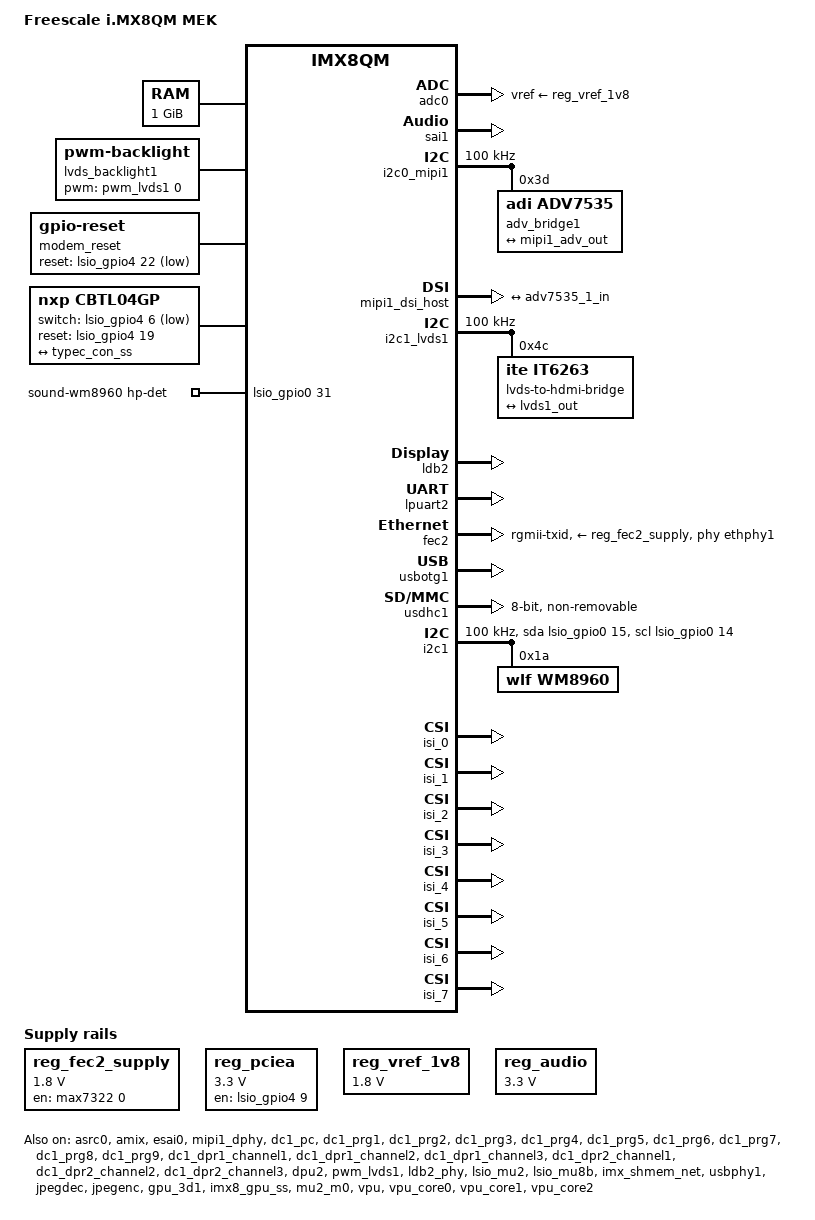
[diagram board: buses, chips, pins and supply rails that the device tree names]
// SPDX-License-Identifier: GPL-2.0+
/*
 * Copyright 2018 NXP
 *	Dong Aisheng <aisheng.dong@nxp.com>
 */

/dts-v1/;

#include <dt-bindings/usb/pd.h>
#include "imx8qm-cockpit-ca72.dtsi"

/ {
	model = "Freescale i.MX8QM MEK";
	compatible = "fsl,imx8qm-mek", "fsl,imx8qm";

	chosen {
		stdout-path = &lpuart2;
	};

	memory@80000000 {
		device_type = "memory";
		reg = <0x00000000 0x80000000 0 0x40000000>;
	};

	brcmfmac: brcmfmac {
		compatible = "cypress,brcmfmac";
		pinctrl-names = "init", "idle", "default";
		pinctrl-0 = <&pinctrl_wifi_init>;
		pinctrl-1 = <&pinctrl_wifi_init>;
		pinctrl-2 = <&pinctrl_wifi>;
	};

	lvds_backlight0: lvds_backlight@0 {
		compatible = "pwm-backlight";
		pwms = <&pwm_lvds0 0 100000 0>;

		brightness-levels = < 0  1  2  3  4  5  6  7  8  9
				     10 11 12 13 14 15 16 17 18 19
				     20 21 22 23 24 25 26 27 28 29
				     30 31 32 33 34 35 36 37 38 39
				     40 41 42 43 44 45 46 47 48 49
				     50 51 52 53 54 55 56 57 58 59
				     60 61 62 63 64 65 66 67 68 69
				     70 71 72 73 74 75 76 77 78 79
				     80 81 82 83 84 85 86 87 88 89
				     90 91 92 93 94 95 96 97 98 99
				    100>;
		default-brightness-level = <80>;
		status = "disabled";
	};

	lvds_backlight1: lvds_backlight@1 {
		compatible = "pwm-backlight";
		pwms = <&pwm_lvds1 0 100000 0>;

		brightness-levels = < 0  1  2  3  4  5  6  7  8  9
				     10 11 12 13 14 15 16 17 18 19
				     20 21 22 23 24 25 26 27 28 29
				     30 31 32 33 34 35 36 37 38 39
				     40 41 42 43 44 45 46 47 48 49
				     50 51 52 53 54 55 56 57 58 59
				     60 61 62 63 64 65 66 67 68 69
				     70 71 72 73 74 75 76 77 78 79
				     80 81 82 83 84 85 86 87 88 89
				     90 91 92 93 94 95 96 97 98 99
				    100>;
		default-brightness-level = <80>;
	};

	modem_reset: modem-reset {
		compatible = "gpio-reset";
		pinctrl-names = "default", "sleep";
		pinctrl-0 = <&pinctrl_modem_reset>;
		pinctrl-1 = <&pinctrl_modem_reset_sleep>;
		reset-gpios = <&lsio_gpio4 22 GPIO_ACTIVE_LOW>;
		reset-delay-us = <2000>;
		reset-post-delay-ms = <40>;
		#reset-cells = <0>;
	};

	cbtl04gp {
		compatible = "nxp,cbtl04gp";
		pinctrl-names = "default";
		pinctrl-0 = <&pinctrl_typec_mux>;
		switch-gpios = <&lsio_gpio4 6 GPIO_ACTIVE_LOW>;
		reset-gpios = <&lsio_gpio4 19 GPIO_ACTIVE_HIGH>;
		orientation-switch;

		port {
			usb3_data_ss: endpoint {
				remote-endpoint = <&typec_con_ss>;
			};
		};
	};

	reserved-memory {
		#address-cells = <2>;
		#size-cells = <2>;
		ranges;

		decoder_boot: decoder_boot@c4000000 {
			no-map;
			reg = <0 0xc4000000 0 0x2000000>;
		};
		encoder1_boot: encoder1_boot@c6000000 {
			no-map;
			reg = <0 0xc6000000 0 0x200000>;
		};
		encoder2_boot: encoder2_boot@c6200000 {
			no-map;
			reg = <0 0xc6200000 0 0x200000>;
		};
		/*
		 * reserved-memory layout
		 * 0x8800_0000 ~ 0x8FFF_FFFF is reserved for M4
		 * Shouldn't be used at A core and Linux side.
		 *
		 */
		m4_reserved: m4@88000000 {
			no-map;
			reg = <0 0x88000000 0 0x8000000>;
		};
		rpmsg_reserved: rpmsg@90000000 {
			no-map;
			reg = <0 0x90000000 0 0x400000>;
		};
		rpmsg_dma_reserved:rpmsg_dma@90400000 {
			compatible = "shared-dma-pool";
			no-map;
			reg = <0 0x90400000 0 0x100000>;
		};
		shmem_dma_reserved:shmem_dma@92000000 {
			compatible = "shared-dma-pool";
			no-map;
			reg = <0 0x92000000 0 0x400000>;
		};
		decoder_rpc: decoder_rpc@d2000000 {
			no-map;
			reg = <0 0xd2000000 0 0x100000>;
		};
		dsp_reserved: dsp@92400000 {
			no-map;
			reg = <0 0x92400000 0 0x2000000>;
		};
		encoder1_rpc: encoder1_rpc@d4400000 {
			no-map;
			reg = <0 0xd4400000 0 0x700000>;
		};
		encoder2_rpc: encoder2_rpc@d4b00000 {
			no-map;
			reg = <0 0xd4b00000 0 0x700000>;
		};

		/* global autoconfigured region for contiguous allocations */
		linux,cma {
			compatible = "shared-dma-pool";
			reusable;
			size = <0 0x1e000000>;
			alloc-ranges = <0 0xe2000000 0 0x1e000000>;
			linux,cma-default;
		};

	};

	epdev_on: fixedregulator@100 {
		compatible = "regulator-fixed";
		pinctrl-names = "default", "sleep";
		pinctrl-0 = <&pinctrl_wlreg_on>;
		pinctrl-1 = <&pinctrl_wlreg_on_sleep>;
		regulator-min-microvolt = <3300000>;
		regulator-max-microvolt = <3300000>;
		regulator-name = "epdev_on";
		gpio = <&lsio_gpio1 13 0>;
		enable-active-high;
		status = "disabled";
	};

	reg_fec2_supply: fec2_nvcc {
		compatible = "regulator-fixed";
		regulator-name = "fec2_nvcc";
		regulator-min-microvolt = <1800000>;
		regulator-max-microvolt = <1800000>;
		gpio = <&max7322 0 GPIO_ACTIVE_HIGH>;
		enable-active-high;
	};

	reg_pciea: regulator-pcie {
		compatible = "regulator-fixed";
		pinctrl-names = "default";
		pinctrl-0 = <&pinctrl_pciea_reg>;
		regulator-name = "mpcie_3v3";
		regulator-min-microvolt = <3300000>;
		regulator-max-microvolt = <3300000>;
		gpio = <&lsio_gpio4 9 GPIO_ACTIVE_HIGH>;
		enable-active-high;
	};

	reg_usdhc2_vmmc: usdhc2-vmmc {
		compatible = "regulator-fixed";
		regulator-name = "SD1_SPWR";
		regulator-min-microvolt = <3000000>;
		regulator-max-microvolt = <3000000>;
		gpio = <&lsio_gpio4 7 GPIO_ACTIVE_HIGH>;
		off-on-delay-us = <4800>;
		enable-active-high;
		status = "disabled";
	};

	reg_can01_en: regulator-can01-gen {
		compatible = "regulator-fixed";
		regulator-name = "can01-en";
		regulator-min-microvolt = <3300000>;
		regulator-max-microvolt = <3300000>;
		gpio = <&pca6416 3 GPIO_ACTIVE_HIGH>;
		enable-active-high;
		status = "disabled";
	};

	reg_can2_en: regulator-can2-gen {
		compatible = "regulator-fixed";
		regulator-name = "can2-en";
		regulator-min-microvolt = <3300000>;
		regulator-max-microvolt = <3300000>;
		gpio = <&pca6416 4 GPIO_ACTIVE_HIGH>;
		enable-active-high;
		status = "disabled";
	};

	reg_can01_stby: regulator-can01-stby {
		compatible = "regulator-fixed";
		regulator-name = "can01-stby";
		regulator-min-microvolt = <3300000>;
		regulator-max-microvolt = <3300000>;
		gpio = <&pca6416 5 GPIO_ACTIVE_HIGH>;
		enable-active-high;
		vin-supply = <&reg_can01_en>;
		status = "disabled";
	};

	reg_can2_stby: regulator-can2-stby {
		compatible = "regulator-fixed";
		regulator-name = "can2-stby";
		regulator-min-microvolt = <3300000>;
		regulator-max-microvolt = <3300000>;
		gpio = <&pca6416 6 GPIO_ACTIVE_HIGH>;
		enable-active-high;
		vin-supply = <&reg_can2_en>;
		status = "disabled";
	};

	reg_vref_1v8: regulator-adc-vref {
		compatible = "regulator-fixed";
		regulator-name = "vref_1v8";
		regulator-min-microvolt = <1800000>;
		regulator-max-microvolt = <1800000>;
	};

	reg_audio: fixedregulator@2 {
		compatible = "regulator-fixed";
		regulator-name = "cs42888_supply";
		regulator-min-microvolt = <3300000>;
		regulator-max-microvolt = <3300000>;
		regulator-always-on;
	};

	sound-cs42888 {
		compatible = "fsl,imx8qm-sabreauto-cs42888",
				 "fsl,imx-audio-cs42888";
		model = "imx-cs42888";
		esai-controller = <&esai0>;
		audio-codec = <&cs42888>;
		asrc-controller = <&asrc0>;
		status = "okay";
	};

	sound-wm8960 {
		compatible = "fsl,imx-audio-wm8960";
		model = "wm8960-audio";
		audio-cpu = <&sai1>;
		audio-codec = <&wm8960>;
		hp-det-gpio = <&lsio_gpio0 31 GPIO_ACTIVE_HIGH>;
		audio-routing =
			"Headphone Jack", "HP_L",
			"Headphone Jack", "HP_R",
			"Ext Spk", "SPK_LP",
			"Ext Spk", "SPK_LN",
			"Ext Spk", "SPK_RP",
			"Ext Spk", "SPK_RN",
			"LINPUT1", "Mic Jack",
			"Mic Jack", "MICB";
	};
};

&adc0 {
	pinctrl-names = "default";
	pinctrl-0 = <&pinctrl_adc0>;
	vref-supply = <&reg_vref_1v8>;
	status = "okay";
};

&cm41_i2c {
	#address-cells = <1>;
	#size-cells = <0>;
	clock-frequency = <100000>;
	pinctrl-names = "default";
	pinctrl-0 = <&pinctrl_cm41_i2c>;
	status = "disabled";

	pca6416: gpio@20 {
		compatible = "ti,tca6416";
		reg = <0x20>;
		gpio-controller;
		#gpio-cells = <2>;
		status = "disabled";
	};

	cs42888: cs42888@48 {
		compatible = "cirrus,cs42888";
		reg = <0x48>;
		clocks = <&mclkout0_lpcg 0>;
		clock-names = "mclk";
		VA-supply = <&reg_audio>;
		VD-supply = <&reg_audio>;
		VLS-supply = <&reg_audio>;
		VLC-supply = <&reg_audio>;
		reset-gpio = <&lsio_gpio4 25 GPIO_ACTIVE_LOW>;
		power-domains = <&pd IMX_SC_R_MCLK_OUT_0>,
				<&pd IMX_SC_R_AUDIO_CLK_0>,
				<&pd IMX_SC_R_AUDIO_CLK_1>,
				<&pd IMX_SC_R_AUDIO_PLL_0>,
				<&pd IMX_SC_R_AUDIO_PLL_1>;
		power-domain-names = "pd_mclk_out_0",
					"pd_audio_clk_0",
					"pd_audio_clk_1",
					"pd_audio_clk_0",
					"pd_audio_clk_1";
		assigned-clocks = <&clk IMX_SC_R_AUDIO_PLL_0 IMX_SC_PM_CLK_PLL>,
				<&clk IMX_SC_R_AUDIO_PLL_0 IMX_SC_PM_CLK_SLV_BUS>,
				<&clk IMX_SC_R_AUDIO_PLL_0 IMX_SC_PM_CLK_MST_BUS>,
				<&mclkout0_lpcg 0>;
		assigned-clock-rates = <786432000>, <49152000>, <12288000>, <12288000>;
		fsl,txs-rxm;
		status = "disabled";
	};
};

&cm41_intmux {
	status = "disabled";
};

&dc0_pc {
	status = "disabled";
};

&dc0_prg1 {
	status = "disabled";
};

&dc0_prg2 {
	status = "disabled";

};

&dc0_prg3 {
	status = "disabled";
};

&dc0_prg4 {
	status = "disabled";
};

&dc0_prg5 {
	status = "disabled";
};

&dc0_prg6 {
	status = "disabled";
};

&dc0_prg7 {
	status = "disabled";
};

&dc0_prg8 {
	status = "disabled";
};

&dc0_prg9 {
	status = "disabled";
};

&dc0_dpr1_channel1 {
	status = "disabled";
};

&dc0_dpr1_channel2 {
	status = "disabled";
};

&dc0_dpr1_channel3 {
	status = "disabled";
};

&dc0_dpr2_channel1 {
	status = "disabled";
};

&dc0_dpr2_channel2 {
	status = "disabled";
};

&dc0_dpr2_channel3 {
	status = "disabled";
};

&dpu1 {
	status = "disabled";
};

&dsp {
	compatible = "fsl,imx8qm-dsp-v1";
	status = "disabled";
};

&asrc0 {
	fsl,asrc-rate  = <48000>;
	status = "okay";
	/delete-property/ dmas;
};

&asrc1 {
	/delete-property/ dmas;
};

&amix {
	status = "okay";
};

&esai0 {
	pinctrl-names = "default";
	pinctrl-0 = <&pinctrl_esai0>;
	assigned-clocks = <&acm IMX_ADMA_ACM_ESAI0_MCLK_SEL>,
			<&clk IMX_SC_R_AUDIO_PLL_0 IMX_SC_PM_CLK_PLL>,
			<&clk IMX_SC_R_AUDIO_PLL_0 IMX_SC_PM_CLK_SLV_BUS>,
			<&clk IMX_SC_R_AUDIO_PLL_0 IMX_SC_PM_CLK_MST_BUS>,
			<&esai0_lpcg 0>;
	assigned-clock-parents = <&aud_pll_div0_lpcg 0>;
	assigned-clock-rates = <0>, <786432000>, <49152000>, <12288000>, <49152000>;
	fsl,txm-rxs;
	status = "okay";
	/delete-property/ dmas;
};

&esai1 {
	/delete-property/ dmas;
};

&sai0 {
	/delete-property/ dmas;
};

&sai1 {
	assigned-clocks = <&clk IMX_SC_R_AUDIO_PLL_0 IMX_SC_PM_CLK_PLL>,
			<&clk IMX_SC_R_AUDIO_PLL_0 IMX_SC_PM_CLK_SLV_BUS>,
			<&clk IMX_SC_R_AUDIO_PLL_0 IMX_SC_PM_CLK_MST_BUS>,
			<&sai1_lpcg 0>; /* FIXME: should be sai1, original code is 0 */
	assigned-clock-rates = <786432000>, <49152000>, <12288000>, <49152000>;
	pinctrl-names = "default";
	pinctrl-0 = <&pinctrl_sai1>;
	status = "okay";
};

&sai2 {
	/delete-property/ dmas;
};

&sai3 {
	/delete-property/ dmas;
};

&sai4 {
	/delete-property/ dmas;
};

&sai5 {
	/delete-property/ dmas;
};

&sai6 {
	assigned-clocks = <&acm IMX_ADMA_ACM_SAI6_MCLK_SEL>,
			<&clk IMX_SC_R_AUDIO_PLL_1 IMX_SC_PM_CLK_PLL>,
			<&clk IMX_SC_R_AUDIO_PLL_1 IMX_SC_PM_CLK_SLV_BUS>,
			<&clk IMX_SC_R_AUDIO_PLL_1 IMX_SC_PM_CLK_MST_BUS>,
			<&sai6_lpcg 0>;
	assigned-clock-parents = <&aud_pll_div1_lpcg 0>;
	assigned-clock-rates = <0>, <786432000>, <98304000>, <12288000>, <98304000>;
	fsl,sai-asynchronous;
	fsl,txm-rxs;
	status = "disabled";
	/delete-property/ dmas;
};

&sai7 {
	assigned-clocks = <&acm IMX_ADMA_ACM_SAI7_MCLK_SEL>,
			<&clk IMX_SC_R_AUDIO_PLL_1 IMX_SC_PM_CLK_PLL>,
			<&clk IMX_SC_R_AUDIO_PLL_1 IMX_SC_PM_CLK_SLV_BUS>,
			<&clk IMX_SC_R_AUDIO_PLL_1 IMX_SC_PM_CLK_MST_BUS>,
			<&sai7_lpcg 0>;
	assigned-clock-parents = <&aud_pll_div1_lpcg 0>;
	assigned-clock-rates = <0>, <786432000>, <98304000>, <12288000>, <98304000>;
	fsl,sai-asynchronous;
	fsl,txm-rxs;
	status = "disabled";
	/delete-property/ dmas;
};

&spdif0 {
	/delete-property/ dmas;
};

&spdif1 {
	/delete-property/ dmas;
};



&pwm_lvds0 {
	pinctrl-names = "default";
	pinctrl-0 = <&pinctrl_pwm_lvds0>;
	status = "disabled";
};

&i2c1_lvds0 {
	#address-cells = <1>;
	#size-cells = <0>;
	pinctrl-names = "default";
	pinctrl-0 = <&pinctrl_lvds0_lpi2c1>;
	clock-frequency = <100000>;
	status = "disabled";

	lvds-to-hdmi-bridge@4c {
		compatible = "ite,it6263";
		reg = <0x4c>;

		port {
			it6263_0_in: endpoint {
				remote-endpoint = <&lvds0_out>;
			};
		};
	};
};

&ldb1_phy {
	status = "disabled";
};

&ldb1 {
	status = "disabled";

	lvds-channel@0 {
		fsl,data-mapping = "jeida";
		fsl,data-width = <24>;
		status = "disabled";

		port@1 {
			reg = <1>;

			lvds0_out: endpoint {
				remote-endpoint = <&it6263_0_in>;
			};
		};
	};
};

&i2c0_mipi0 {
	#address-cells = <1>;
	#size-cells = <0>;
        pinctrl-names = "default";
        pinctrl-0 = <&pinctrl_mipi0_lpi2c0>;
	clock-frequency = <100000>;
	status = "disabled";

	adv_bridge0: adv7535@3d {
		#address-cells = <1>;
		#size-cells = <0>;

		compatible = "adi,adv7535";
		reg = <0x3d>;
		adi,addr-cec = <0x3b>;
		adi,dsi-lanes = <4>;
		adi,dsi-channel = <1>;
		interrupt-parent = <&lsio_gpio1>;
		interrupts = <19 IRQ_TYPE_LEVEL_LOW>;
		status = "disabled";

		port@0 {
			reg = <0>;
			adv7535_0_in: endpoint {
				remote-endpoint = <&mipi0_adv_out>;
			};
		};
	};
};

&mipi0_dphy {
	status = "disabled";
};

&mipi0_dsi_host {
	status = "disabled";

	ports {
		port@1 {
			reg = <1>;
			mipi0_adv_out: endpoint {
				remote-endpoint = <&adv7535_0_in>;
			};
		};
	};
};

&i2c0_mipi1 {
	#address-cells = <1>;
	#size-cells = <0>;
        pinctrl-names = "default";
        pinctrl-0 = <&pinctrl_mipi1_lpi2c0>;
	clock-frequency = <100000>;
	status = "okay";

	adv_bridge1: adv7535@3d {
		#address-cells = <1>;
		#size-cells = <0>;

		compatible = "adi,adv7535";
		reg = <0x3d>;
		adi,addr-cec = <0x3b>;
		adi,dsi-lanes = <4>;
		adi,dsi-channel = <1>;
//		interrupt-parent = <&lsio_gpio1>;
		interrupts = <23 IRQ_TYPE_LEVEL_LOW>;
		status = "okay";

		port@0 {
			reg = <0>;
			adv7535_1_in: endpoint {
				remote-endpoint = <&mipi1_adv_out>;
			};
		};
	};
};

&mipi1_dphy {
	status = "okay";
};

&mipi1_dsi_host {
	status = "okay";

	ports {
		port@1 {
			reg = <1>;
			mipi1_adv_out: endpoint {
				remote-endpoint = <&adv7535_1_in>;
			};
		};
	};
};

&dc1_pc {
	status = "okay";
};

&dc1_prg1 {
	status = "okay";
};

&dc1_prg2 {
	status = "okay";

};

&dc1_prg3 {
	status = "okay";
};

&dc1_prg4 {
	status = "okay";
};

&dc1_prg5 {
	status = "okay";
};

&dc1_prg6 {
	status = "okay";
};

&dc1_prg7 {
	status = "okay";
};

&dc1_prg8 {
	status = "okay";
};

&dc1_prg9 {
	status = "okay";
};

&dc1_dpr1_channel1 {
	status = "okay";
};

&dc1_dpr1_channel2 {
	status = "okay";
};

&dc1_dpr1_channel3 {
	status = "okay";
};

&dc1_dpr2_channel1 {
	status = "okay";
};

&dc1_dpr2_channel2 {
	status = "okay";
};

&dc1_dpr2_channel3 {
	status = "okay";
};

&dpu2 {
	status = "okay";
};

&pwm_lvds1 {
	pinctrl-names = "default";
	pinctrl-0 = <&pinctrl_pwm_lvds1>;
	status = "okay";
};

&i2c1_lvds1 {
	#address-cells = <1>;
	#size-cells = <0>;
	pinctrl-names = "default";
	pinctrl-0 = <&pinctrl_lvds1_lpi2c1>;
	clock-frequency = <100000>;
	status = "okay";

	lvds-to-hdmi-bridge@4c {
		compatible = "ite,it6263";
		reg = <0x4c>;

		port {
			it6263_1_in: endpoint {
				remote-endpoint = <&lvds1_out>;
			};
		};
	};
};

&ldb2_phy {
	status = "okay";
};

&ldb2 {
	status = "okay";

	lvds-channel@0 {
		fsl,data-mapping = "jeida";
		fsl,data-width = <24>;
		status = "okay";

		port@1 {
			reg = <1>;

			lvds1_out: endpoint {
				remote-endpoint = <&it6263_1_in>;
			};
		};
	};
};

&lpspi2 {
	#address-cells = <1>;
	#size-cells = <0>;
	fsl,spi-num-chipselects = <1>;
	pinctrl-names = "default";
	pinctrl-0 = <&pinctrl_lpspi2 &pinctrl_lpspi2_cs>;
	cs-gpios = <&lsio_gpio3 10 GPIO_ACTIVE_LOW>;
	status = "disabled";

	spidev0: spi@0 {
		reg = <0>;
		compatible = "rohm,dh2228fv";
		spi-max-frequency = <30000000>;
	};
};

&emvsim0 {
	pinctrl-names = "default";
	pinctrl-0 = <&pinctrl_sim0>;
	status = "disabled";
};

&lpuart0 {
	pinctrl-names = "default";
	pinctrl-0 = <&pinctrl_lpuart0>;
	status = "disabled";
};

&lpuart1 { /* BT */
	pinctrl-names = "default";
	pinctrl-0 = <&pinctrl_lpuart1>;
	resets = <&modem_reset>;
	status = "disabled";
};

&lpuart2 { /* Dbg console */
	pinctrl-names = "default";
	pinctrl-0 = <&pinctrl_lpuart2>;
	/delete-property/ dmas;
	status = "okay";
};

&lpuart3 { /* MKbus */
	pinctrl-names = "default";
	pinctrl-0 = <&pinctrl_lpuart3>;
	status = "disabled";
};

&flexcan1 {
	pinctrl-names = "default";
	pinctrl-0 = <&pinctrl_flexcan1>;
	xceiver-supply = <&reg_can01_stby>;
	status = "disabled";
};

&flexcan2 {
	pinctrl-names = "default";
	pinctrl-0 = <&pinctrl_flexcan2>;
	xceiver-supply = <&reg_can01_stby>;
	status = "disabled";
};

&flexcan3 {
	pinctrl-names = "default";
	pinctrl-0 = <&pinctrl_flexcan3>;
	xceiver-supply = <&reg_can2_stby>;
	status = "disabled";
};

&fec1 {
	pinctrl-names = "default";
	pinctrl-0 = <&pinctrl_fec1>;
	phy-mode = "rgmii-txid";
	phy-handle = <&ethphy0>;
	fsl,magic-packet;
	nvmem-cells = <&fec_mac0>;
	nvmem-cell-names = "mac-address";
	fsl,rgmii_rxc_dly;
	/delete-property/ iommus;
	status = "disabled";

	mdio {
		#address-cells = <1>;
		#size-cells = <0>;

		ethphy0: ethernet-phy@0 {
			compatible = "ethernet-phy-ieee802.3-c22";
			reg = <0>;
			qca,disable-smarteee;
			vddio-supply = <&vddio0>;

			vddio0: vddio-regulator {
				regulator-min-microvolt = <1800000>;
				regulator-max-microvolt = <1800000>;
			};
		};

		ethphy1: ethernet-phy@1 {
			compatible = "ethernet-phy-ieee802.3-c22";
			reg = <1>;
			qca,disable-smarteee;
			vddio-supply = <&vddio1>;

			vddio1: vddio-regulator {
				regulator-min-microvolt = <1800000>;
				regulator-max-microvolt = <1800000>;
			};
		};
	};
};

&fec2 {
	pinctrl-names = "default";
	pinctrl-0 = <&pinctrl_fec2>;
	phy-mode = "rgmii-txid";
	phy-handle = <&ethphy1>;
	phy-supply = <&reg_fec2_supply>;
	fsl,magic-packet;
	nvmem-cells = <&fec_mac1>;
	nvmem-cell-names = "mac-address";
	rx-internal-delay-ps = <2000>;
	/delete-property/ iommus;
	status = "okay";
};

&flexspi0 {
	pinctrl-names = "default";
	pinctrl-0 = <&pinctrl_flexspi0>;
	status = "disabled";

	flash0: mt35xu512aba@0 {
		reg = <0>;
		#address-cells = <1>;
		#size-cells = <1>;
		compatible = "jedec,spi-nor";
		spi-max-frequency = <133000000>;
		spi-tx-bus-width = <4>;
		spi-rx-bus-width = <4>;
	};
};

&pciea{
	pinctrl-names = "default";
	pinctrl-0 = <&pinctrl_pciea>;
	reset-gpio = <&lsio_gpio4 29 GPIO_ACTIVE_LOW>;
	ext_osc = <1>;
	epdev_on-supply = <&epdev_on>;
	vpcie-supply = <&reg_pciea>;
	reserved-region = <&rpmsg_reserved>;
	status = "disabled";
};

&lsio_mu1 {
	status = "disabled";
};

&lsio_mu2 {
	status = "okay";
};

&lsio_mu5 {
	status = "disabled";
};

&lsio_mu6 {
	status = "disabled";
};

&lsio_mu8b {
	status = "okay";
};

&rpmsg0{
	/*
	 * 64K for one rpmsg instance:
	 */
	vdev-nums = <2>;
	reg = <0x0 0x90000000 0x0 0x20000>;
	memory-region = <&rpmsg_dma_reserved>;
	status = "disabled";
};

&rpmsg1{
	/*
	 * 64K for one rpmsg instance:
	 */
	vdev-nums = <2>;
	reg = <0x0 0x90100000 0x0 0x20000>;
	memory-region = <&rpmsg_dma_reserved>;
	status = "disabled";
};

&imx_shmem_net {
	memory-region = <&shmem_dma_reserved>;
	rxfirst;
	status = "okay";
};

&sata {
	pinctrl-names = "default";
	pinctrl-0 = <&pinctrl_pcieb>;
	clkreq-gpio = <&lsio_gpio4 30 GPIO_ACTIVE_LOW>;
	ext_osc = <1>;
	/delete-property/ iommus;
	status = "disabled";
};

&usbphy1 {
	status = "okay";
};

&usbotg1 {
	pinctrl-names = "default";
	pinctrl-0 = <&pinctrl_usbotg1>;
	srp-disable;
	hnp-disable;
	adp-disable;
	power-active-high;
	disable-over-current;
	status = "okay";
};

&usb3_phy {
	status = "disabled";
};

&usbotg3 {
	status = "disabled";
};

&usdhc1 {
	assigned-clocks = <&clk IMX_SC_R_SDHC_0 IMX_SC_PM_CLK_PER>;
	assigned-clock-rates = <400000000>;
	pinctrl-names = "default", "state_100mhz", "state_200mhz";
	pinctrl-0 = <&pinctrl_usdhc1>;
	pinctrl-1 = <&pinctrl_usdhc1>;
	pinctrl-2 = <&pinctrl_usdhc1>;
	bus-width = <8>;
	no-sd;
	no-sdio;
	non-removable;
	/delete-property/ iommus;
	status = "okay";
};

&usdhc2 {
	pinctrl-names = "default", "state_100mhz", "state_200mhz";
	pinctrl-0 = <&pinctrl_usdhc2>, <&pinctrl_usdhc2_gpio>;
	pinctrl-1 = <&pinctrl_usdhc2>, <&pinctrl_usdhc2_gpio>;
	pinctrl-2 = <&pinctrl_usdhc2>, <&pinctrl_usdhc2_gpio>;
	bus-width = <4>;
	vmmc-supply = <&reg_usdhc2_vmmc>;
	cd-gpios = <&lsio_gpio5 22 GPIO_ACTIVE_LOW>;
	wp-gpios = <&lsio_gpio5 21 GPIO_ACTIVE_HIGH>;
	/delete-property/ iommus;
	status = "disabled";
};

&i2c0 {
	#address-cells = <1>;
	#size-cells = <0>;
	clock-frequency = <100000>;
	pinctrl-names = "default";
	pinctrl-0 = <&pinctrl_i2c0>;
	status = "disabled";

	isl29023@44 {
		pinctrl-names = "default";
		pinctrl-0 = <&pinctrl_isl29023>;
		compatible = "isil,isl29023";
		reg = <0x44>;
		rext = <499>;
		interrupt-parent = <&lsio_gpio4>;
		interrupts = <11 2>;
	};

	fxos8700@1e {
		compatible = "nxp,fxos8700";
		reg = <0x1e>;
		interrupt-open-drain;
	};

	fxas21002c@20 {
		compatible = "nxp,fxas21002c";
		reg = <0x20>;
		interrupt-open-drain;
	};

	max7322: gpio@68 {
		compatible = "maxim,max7322";
		reg = <0x68>;
		gpio-controller;
		#gpio-cells = <2>;
	};

	mpl3115@60 {
		compatible = "fsl,mpl3115";
		reg = <0x60>;
		interrupt-open-drain;
	};

	ptn5110: tcpc@51 {
		compatible = "nxp,ptn5110";
		pinctrl-names = "default";
		pinctrl-0 = <&pinctrl_typec>;
		reg = <0x51>;
		interrupt-parent = <&lsio_gpio4>;
		interrupts = <26 IRQ_TYPE_LEVEL_LOW>;
		status = "disabled";

		usb_con1: connector {
			compatible = "usb-c-connector";
			label = "USB-C";
			power-role = "source";
			data-role = "dual";
			source-pdos = <PDO_FIXED(5000, 3000, PDO_FIXED_USB_COMM)>;

			ports {
				#address-cells = <1>;
				#size-cells = <0>;

				port@1 {
					reg = <1>;
					typec_con_ss: endpoint {
						remote-endpoint = <&usb3_data_ss>;
					};
				};
			};
		};
	};
};

&i2c1 {
	#address-cells = <1>;
	#size-cells = <0>;
	clock-frequency = <100000>;
	pinctrl-names = "default", "gpio";
	pinctrl-0 = <&pinctrl_i2c1>;
	pinctrl-1 = <&pinctrl_i2c1_gpio>;
	scl-gpios = <&lsio_gpio0 14 GPIO_ACTIVE_HIGH>;
	sda-gpios = <&lsio_gpio0 15 GPIO_ACTIVE_HIGH>;
	status = "okay";

	wm8960: wm8960@1a {
		compatible = "wlf,wm8960";
		reg = <0x1a>;
		clocks = <&mclkout0_lpcg 0>;
		clock-names = "mclk";
		wlf,shared-lrclk;
		wlf,hp-cfg = <2 2 3>;
		wlf,gpio-cfg = <1 3>;
		assigned-clocks = <&clk IMX_SC_R_AUDIO_PLL_0 IMX_SC_PM_CLK_PLL>,
				<&clk IMX_SC_R_AUDIO_PLL_0 IMX_SC_PM_CLK_SLV_BUS>,
				<&clk IMX_SC_R_AUDIO_PLL_0 IMX_SC_PM_CLK_MST_BUS>,
				<&mclkout0_lpcg 0>;
		assigned-clock-rates = <786432000>, <49152000>, <12288000>, <12288000>;
	};
};

&isi_0 {
	status = "okay";

	cap_device {
		status = "okay";
	};

	m2m_device {
		status = "okay";
	};
};

&isi_1 {
	status = "okay";

	cap_device {
		status = "okay";
	};
};

&isi_2 {
	status = "okay";

	cap_device {
		status = "okay";
	};
};

&isi_3 {
	status = "okay";

	cap_device {
		status = "okay";
	};
};

&isi_4 {
	status = "okay";

	cap_device {
		status = "okay";
	};
};

&isi_5 {
	status = "okay";

	cap_device {
		status = "okay";
	};
};

&isi_6 {
	status = "okay";

	cap_device {
		status = "okay";
	};
};

&isi_7 {
	status = "okay";

	cap_device {
		status = "okay";
	};
};

&irqsteer_csi0 {
	status = "disabled";
};

&irqsteer_csi1 {
	status = "disabled";
};

&mipi_csi_0 {
	#address-cells = <1>;
	#size-cells = <0>;
	virtual-channel;
	status = "disabled";

	/* Camera 0  MIPI CSI-2 (CSIS0) */
	port@0 {
		reg = <0>;
		mipi_csi0_ep: endpoint {
			remote-endpoint = <&max9286_0_ep>;
			data-lanes = <1 2 3 4>;
		};
	};
};

&mipi_csi_1 {
	#address-cells = <1>;
	#size-cells = <0>;
	virtual-channel;
	status = "disabled";

	/* Camera 1  MIPI CSI-2 (CSIS1) */
	port@1 {
		reg = <1>;
		mipi_csi1_ep: endpoint {
			remote-endpoint = <&max9286_1_ep>;
			data-lanes = <1 2 3 4>;
		};
	};
};

&jpegdec {
       status = "okay";
};

&jpegenc {
       status = "okay";
};

&i2c_mipi_csi0 {
	#address-cells = <1>;
	#size-cells = <0>;
	pinctrl-names = "default";
	pinctrl-0 = <&pinctrl_i2c_mipi_csi0>;
	clock-frequency = <100000>;
	status = "disabled";

	max9286_mipi@6a {
		compatible = "maxim,max9286_mipi";
		reg = <0x6a>;
		pinctrl-names = "default";
		pinctrl-0 = <&pinctrl_mipi_csi0>;
		clocks = <&clk_dummy>;
		clock-names = "capture_mclk";
		mclk = <27000000>;
		mclk_source = <0>;
		pwn-gpios = <&lsio_gpio1 27 GPIO_ACTIVE_HIGH>;
		virtual-channel;
		status = "disabled";
		port {
			max9286_0_ep: endpoint {
				remote-endpoint = <&mipi_csi0_ep>;
				data-lanes = <1 2 3 4>;
			};
		};
	};
};

&i2c_mipi_csi1 {
	#address-cells = <1>;
	#size-cells = <0>;
	pinctrl-names = "default";
	pinctrl-0 = <&pinctrl_i2c_mipi_csi1>;
	clock-frequency = <100000>;
	status = "disabled";

	max9286_mipi@6a {
		compatible = "maxim,max9286_mipi";
		reg = <0x6a>;
		pinctrl-names = "default";
		pinctrl-0 = <&pinctrl_mipi_csi1>;
		clocks = <&clk_dummy>;
		clock-names = "capture_mclk";
		mclk = <27000000>;
		mclk_source = <0>;
		pwn-gpios = <&lsio_gpio1 30 GPIO_ACTIVE_HIGH>;
		virtual-channel;
		status = "disabled";
		port {
			max9286_1_ep: endpoint {
				remote-endpoint = <&mipi_csi1_ep>;
				data-lanes = <1 2 3 4>;
			};
		};
	};

};

&iomuxc {
	pinctrl-names = "default";
	pinctrl-0 = <&pinctrl_hog>;

	pinctrl_hog: hoggrp {
		fsl,pins = <
			IMX8QM_MCLK_OUT0_AUD_ACM_MCLK_OUT0			0x0600004c
			IMX8QM_SCU_GPIO0_03_LSIO_GPIO0_IO31			0x0600004c
		>;
	};

	pinctrl_cm41_i2c: cm41i2cgrp {
		fsl,pins = <
			IMX8QM_M41_I2C0_SDA_M41_I2C0_SDA			0x0600004c
			IMX8QM_M41_I2C0_SCL_M41_I2C0_SCL			0x0600004c
		>;
	};

	pinctrl_adc0: adc0grp {
		fsl,pins = <
			IMX8QM_ADC_IN0_DMA_ADC0_IN0				0xc0000060
		>;
	};

	pinctrl_esai0: esai0grp {
		fsl,pins = <
			IMX8QM_ESAI0_FSR_AUD_ESAI0_FSR				0xc6000040
			IMX8QM_ESAI0_FST_AUD_ESAI0_FST				0xc6000040
			IMX8QM_ESAI0_SCKR_AUD_ESAI0_SCKR			0xc6000040
			IMX8QM_ESAI0_SCKT_AUD_ESAI0_SCKT			0xc6000040
			IMX8QM_ESAI0_TX0_AUD_ESAI0_TX0				0xc6000040
			IMX8QM_ESAI0_TX1_AUD_ESAI0_TX1				0xc6000040
			IMX8QM_ESAI0_TX2_RX3_AUD_ESAI0_TX2_RX3			0xc6000040
			IMX8QM_ESAI0_TX3_RX2_AUD_ESAI0_TX3_RX2			0xc6000040
			IMX8QM_ESAI0_TX4_RX1_AUD_ESAI0_TX4_RX1			0xc6000040
			IMX8QM_ESAI0_TX5_RX0_AUD_ESAI0_TX5_RX0			0xc6000040
		>;
	};

	pinctrl_fec1: fec1grp {
		fsl,pins = <
			IMX8QM_COMP_CTL_GPIO_1V8_3V3_ENET_ENETB_PAD		0x000014a0
			IMX8QM_ENET0_MDC_CONN_ENET0_MDC				0x06000020
			IMX8QM_ENET0_MDIO_CONN_ENET0_MDIO			0x06000020
			IMX8QM_ENET0_RGMII_TX_CTL_CONN_ENET0_RGMII_TX_CTL	0x06000020
			IMX8QM_ENET0_RGMII_TXC_CONN_ENET0_RGMII_TXC		0x06000020
			IMX8QM_ENET0_RGMII_TXD0_CONN_ENET0_RGMII_TXD0		0x06000020
			IMX8QM_ENET0_RGMII_TXD1_CONN_ENET0_RGMII_TXD1		0x06000020
			IMX8QM_ENET0_RGMII_TXD2_CONN_ENET0_RGMII_TXD2		0x06000020
			IMX8QM_ENET0_RGMII_TXD3_CONN_ENET0_RGMII_TXD3		0x06000020
			IMX8QM_ENET0_RGMII_RXC_CONN_ENET0_RGMII_RXC		0x06000020
			IMX8QM_ENET0_RGMII_RX_CTL_CONN_ENET0_RGMII_RX_CTL	0x06000020
			IMX8QM_ENET0_RGMII_RXD0_CONN_ENET0_RGMII_RXD0		0x06000020
			IMX8QM_ENET0_RGMII_RXD1_CONN_ENET0_RGMII_RXD1		0x06000020
			IMX8QM_ENET0_RGMII_RXD2_CONN_ENET0_RGMII_RXD2		0x06000020
			IMX8QM_ENET0_RGMII_RXD3_CONN_ENET0_RGMII_RXD3		0x06000020
		>;
	};

	pinctrl_fec2: fec2grp {
		fsl,pins = <
			IMX8QM_COMP_CTL_GPIO_1V8_3V3_ENET_ENETA_PAD		0x000014a0
			IMX8QM_ENET1_RGMII_TX_CTL_CONN_ENET1_RGMII_TX_CTL	0x00000060
			IMX8QM_ENET1_RGMII_TXC_CONN_ENET1_RGMII_TXC		0x00000060
			IMX8QM_ENET1_RGMII_TXD0_CONN_ENET1_RGMII_TXD0		0x00000060
			IMX8QM_ENET1_RGMII_TXD1_CONN_ENET1_RGMII_TXD1		0x00000060
			IMX8QM_ENET1_RGMII_TXD2_CONN_ENET1_RGMII_TXD2		0x00000060
			IMX8QM_ENET1_RGMII_TXD3_CONN_ENET1_RGMII_TXD3		0x00000060
			IMX8QM_ENET1_RGMII_RXC_CONN_ENET1_RGMII_RXC		0x00000060
			IMX8QM_ENET1_RGMII_RX_CTL_CONN_ENET1_RGMII_RX_CTL	0x00000060
			IMX8QM_ENET1_RGMII_RXD0_CONN_ENET1_RGMII_RXD0		0x00000060
			IMX8QM_ENET1_RGMII_RXD1_CONN_ENET1_RGMII_RXD1		0x00000060
			IMX8QM_ENET1_RGMII_RXD2_CONN_ENET1_RGMII_RXD2		0x00000060
			IMX8QM_ENET1_RGMII_RXD3_CONN_ENET1_RGMII_RXD3		0x00000060
		>;
	};

	pinctrl_flexspi0: flexspi0grp {
		fsl,pins = <
			IMX8QM_QSPI0A_DATA0_LSIO_QSPI0A_DATA0     0x06000021
			IMX8QM_QSPI0A_DATA1_LSIO_QSPI0A_DATA1     0x06000021
			IMX8QM_QSPI0A_DATA2_LSIO_QSPI0A_DATA2     0x06000021
			IMX8QM_QSPI0A_DATA3_LSIO_QSPI0A_DATA3     0x06000021
			IMX8QM_QSPI0A_DQS_LSIO_QSPI0A_DQS         0x06000021
			IMX8QM_QSPI0A_SS0_B_LSIO_QSPI0A_SS0_B     0x06000021
			IMX8QM_QSPI0A_SS1_B_LSIO_QSPI0A_SS1_B     0x06000021
			IMX8QM_QSPI0A_SCLK_LSIO_QSPI0A_SCLK       0x06000021
			IMX8QM_QSPI0B_SCLK_LSIO_QSPI0B_SCLK       0x06000021
			IMX8QM_QSPI0B_DATA0_LSIO_QSPI0B_DATA0     0x06000021
			IMX8QM_QSPI0B_DATA1_LSIO_QSPI0B_DATA1     0x06000021
			IMX8QM_QSPI0B_DATA2_LSIO_QSPI0B_DATA2     0x06000021
			IMX8QM_QSPI0B_DATA3_LSIO_QSPI0B_DATA3     0x06000021
			IMX8QM_QSPI0B_DQS_LSIO_QSPI0B_DQS         0x06000021
			IMX8QM_QSPI0B_SS0_B_LSIO_QSPI0B_SS0_B     0x06000021
			IMX8QM_QSPI0B_SS1_B_LSIO_QSPI0B_SS1_B     0x06000021
		>;
	};

	pinctrl_flexcan1: flexcan0grp {
		fsl,pins = <
			IMX8QM_FLEXCAN0_TX_DMA_FLEXCAN0_TX            0x21
			IMX8QM_FLEXCAN0_RX_DMA_FLEXCAN0_RX            0x21
		>;
	};

	pinctrl_flexcan2: flexcan1grp {
		fsl,pins = <
			IMX8QM_FLEXCAN1_TX_DMA_FLEXCAN1_TX            0x21
			IMX8QM_FLEXCAN1_RX_DMA_FLEXCAN1_RX            0x21
			>;
	};

	pinctrl_flexcan3: flexcan3grp {
		fsl,pins = <
			IMX8QM_FLEXCAN2_TX_DMA_FLEXCAN2_TX            0x21
			IMX8QM_FLEXCAN2_RX_DMA_FLEXCAN2_RX            0x21
			>;
	};

	pinctrl_isl29023: isl29023grp {
		fsl,pins = <
			IMX8QM_USDHC2_WP_LSIO_GPIO4_IO11		0x00000021
		>;
	};

	pinctrl_i2c0: i2c0grp {
		fsl,pins = <
			IMX8QM_HDMI_TX0_TS_SCL_DMA_I2C0_SCL	0x06000021
			IMX8QM_HDMI_TX0_TS_SDA_DMA_I2C0_SDA	0x06000021
		>;
	};

	pinctrl_i2c1: i2c1grp {
		fsl,pins = <
			IMX8QM_GPT0_CLK_DMA_I2C1_SCL 0x0600004c
			IMX8QM_GPT0_CAPTURE_DMA_I2C1_SDA 0x0600004c
		>;
	};

	pinctrl_i2c1_gpio: i2c1grp-gpio {
		fsl,pins = <
			IMX8QM_GPT0_CLK_LSIO_GPIO0_IO14		0xc600004c
			IMX8QM_GPT0_CAPTURE_LSIO_GPIO0_IO15	0xc600004c
		>;
	};

	pinctrl_lpspi2: lpspi2grp {
		fsl,pins = <
			IMX8QM_SPI2_SCK_DMA_SPI2_SCK		0x0600004c
			IMX8QM_SPI2_SDO_DMA_SPI2_SDO		0x0600004c
			IMX8QM_SPI2_SDI_DMA_SPI2_SDI		0x0600004c
			IMX8QM_SPI2_CS0_DMA_SPI2_CS0		0x0600004c
		>;
	};

	pinctrl_lpspi2_cs: lpspi2cs {
		fsl,pins = <
			IMX8QM_SPI2_CS0_LSIO_GPIO3_IO10		0x21
		>;
	};

	pinctrl_sim0: sim0grp {
		fsl,pins = <
			IMX8QM_SIM0_CLK_DMA_SIM0_CLK		0xc0000021
			IMX8QM_SIM0_IO_DMA_SIM0_IO		0xc2000021
			IMX8QM_SIM0_PD_DMA_SIM0_PD		0xc0000021
			IMX8QM_SIM0_POWER_EN_DMA_SIM0_POWER_EN	0xc0000021
			IMX8QM_SIM0_RST_DMA_SIM0_RST		0xc0000021
		>;
	};

	pinctrl_lpuart0: lpuart0grp {
		fsl,pins = <
			IMX8QM_UART0_RX_DMA_UART0_RX				0x06000020
			IMX8QM_UART0_TX_DMA_UART0_TX				0x06000020
		>;
	};

	pinctrl_lpuart1: lpuart1grp {
		fsl,pins = <
			IMX8QM_UART1_RX_DMA_UART1_RX		0x06000020
			IMX8QM_UART1_TX_DMA_UART1_TX		0x06000020
			IMX8QM_UART1_CTS_B_DMA_UART1_CTS_B	0x06000020
			IMX8QM_UART1_RTS_B_DMA_UART1_RTS_B	0x06000020
		>;
	};

	pinctrl_lpuart2: lpuart2grp {
		fsl,pins = <
			IMX8QM_UART0_RTS_B_DMA_UART2_RX		0x06000020
			IMX8QM_UART0_CTS_B_DMA_UART2_TX		0x06000020
		>;
	};

	pinctrl_lpuart3: lpuart3grp {
		fsl,pins = <
			IMX8QM_M41_GPIO0_00_DMA_UART3_RX		0x06000020
			IMX8QM_M41_GPIO0_01_DMA_UART3_TX		0x06000020
		>;
	};

	pinctrl_pwm_lvds0: pwmlvds0grp {
		fsl,pins = <
			IMX8QM_LVDS0_GPIO00_LVDS0_PWM0_OUT		0x00000020
		>;
	};

	pinctrl_pwm_lvds1: pwmlvds1grp {
		fsl,pins = <
			IMX8QM_LVDS1_GPIO00_LVDS1_PWM0_OUT		0x00000020
		>;
	};

	pinctrl_modem_reset: modemresetgrp {
		fsl,pins = <
			IMX8QM_QSPI1A_DQS_LSIO_GPIO4_IO22		0x06000021
		>;
	};

	pinctrl_modem_reset_sleep: modemreset_sleepgrp {
		fsl,pins = <
			IMX8QM_QSPI1A_DQS_LSIO_GPIO4_IO22		0x07800021
		>;
	};

	pinctrl_pciea: pcieagrp{
		fsl,pins = <
			IMX8QM_PCIE_CTRL0_WAKE_B_LSIO_GPIO4_IO28		0x04000021
			IMX8QM_PCIE_CTRL0_CLKREQ_B_LSIO_GPIO4_IO27		0x06000021
			IMX8QM_PCIE_CTRL0_PERST_B_LSIO_GPIO4_IO29		0x06000021
		>;
	};

	pinctrl_pciea_reg: pcieareggrp {
		fsl,pins = <
			IMX8QM_USDHC2_RESET_B_LSIO_GPIO4_IO09			0x06000021
		>;
	};

	pinctrl_pcieb: pciebgrp{
		fsl,pins = <
			IMX8QM_PCIE_CTRL1_CLKREQ_B_LSIO_GPIO4_IO30		0x06000021
		>;
	};

	pinctrl_sai1: sai1grp {
		fsl,pins = <
			IMX8QM_SAI1_RXD_AUD_SAI1_RXD			0x06000040
			IMX8QM_SAI1_TXFS_AUD_SAI1_TXFS			0x06000040
			IMX8QM_SAI1_TXD_AUD_SAI1_TXD			0x06000060
			IMX8QM_SAI1_TXC_AUD_SAI1_TXC			0x06000040
		>;
	};

	pinctrl_typec: typecgrp {
		fsl,pins = <
			IMX8QM_QSPI1A_DATA0_LSIO_GPIO4_IO26		0x00000021
		>;
	};

	pinctrl_typec_mux: typecmuxgrp {
		fsl,pins = <
			IMX8QM_QSPI1A_SS0_B_LSIO_GPIO4_IO19		0x60
			IMX8QM_USB_SS3_TC3_LSIO_GPIO4_IO06		0x60
		>;
	};

	pinctrl_usbotg1: usbotg1 {
		fsl,pins = <
			IMX8QM_USB_SS3_TC0_CONN_USB_OTG1_PWR		0x00000021
		>;
	};

	pinctrl_usdhc1: usdhc1grp {
		fsl,pins = <
			IMX8QM_EMMC0_CLK_CONN_EMMC0_CLK				0x06000041
			IMX8QM_EMMC0_CMD_CONN_EMMC0_CMD				0x00000021
			IMX8QM_EMMC0_DATA0_CONN_EMMC0_DATA0			0x00000021
			IMX8QM_EMMC0_DATA1_CONN_EMMC0_DATA1			0x00000021
			IMX8QM_EMMC0_DATA2_CONN_EMMC0_DATA2			0x00000021
			IMX8QM_EMMC0_DATA3_CONN_EMMC0_DATA3			0x00000021
			IMX8QM_EMMC0_DATA4_CONN_EMMC0_DATA4			0x00000021
			IMX8QM_EMMC0_DATA5_CONN_EMMC0_DATA5			0x00000021
			IMX8QM_EMMC0_DATA6_CONN_EMMC0_DATA6			0x00000021
			IMX8QM_EMMC0_DATA7_CONN_EMMC0_DATA7			0x00000021
			IMX8QM_EMMC0_STROBE_CONN_EMMC0_STROBE			0x00000041
		>;
	};

	pinctrl_usdhc2_gpio: usdhc2grpgpio {
		fsl,pins = <
			IMX8QM_USDHC1_DATA6_LSIO_GPIO5_IO21			0x00000021
			IMX8QM_USDHC1_DATA7_LSIO_GPIO5_IO22			0x00000021
			IMX8QM_USDHC1_RESET_B_LSIO_GPIO4_IO07			0x00000021
		>;
	};

	pinctrl_usdhc2: usdhc2grp {
		fsl,pins = <
			IMX8QM_USDHC1_CLK_CONN_USDHC1_CLK			0x06000041
			IMX8QM_USDHC1_CMD_CONN_USDHC1_CMD			0x00000021
			IMX8QM_USDHC1_DATA0_CONN_USDHC1_DATA0			0x00000021
			IMX8QM_USDHC1_DATA1_CONN_USDHC1_DATA1			0x00000021
			IMX8QM_USDHC1_DATA2_CONN_USDHC1_DATA2			0x00000021
			IMX8QM_USDHC1_DATA3_CONN_USDHC1_DATA3			0x00000021
			IMX8QM_USDHC1_VSELECT_CONN_USDHC1_VSELECT		0x00000021
		>;
	};

	pinctrl_i2c_mipi_csi0: i2c_mipi_csi0 {
		fsl,pins = <
			IMX8QM_MIPI_CSI0_I2C0_SCL_MIPI_CSI0_I2C0_SCL		0xc2000020
			IMX8QM_MIPI_CSI0_I2C0_SDA_MIPI_CSI0_I2C0_SDA		0xc2000020
		>;
	};

	pinctrl_i2c_mipi_csi1: i2c_mipi_csi1 {
		fsl,pins = <
			IMX8QM_MIPI_CSI1_I2C0_SCL_MIPI_CSI1_I2C0_SCL		0xc2000020
			IMX8QM_MIPI_CSI1_I2C0_SDA_MIPI_CSI1_I2C0_SDA		0xc2000020
		>;
	};

	pinctrl_mipi_csi0: mipi_csi0 {
		fsl,pins = <
			IMX8QM_MIPI_CSI0_GPIO0_00_LSIO_GPIO1_IO27		0xC0000041
			IMX8QM_MIPI_CSI0_GPIO0_01_LSIO_GPIO1_IO28		0xC0000041
			IMX8QM_MIPI_CSI0_MCLK_OUT_MIPI_CSI0_ACM_MCLK_OUT	0xC0000041
		>;
	};

	pinctrl_mipi_csi1: mipi_csi1 {
		fsl,pins = <
			IMX8QM_MIPI_CSI1_GPIO0_00_LSIO_GPIO1_IO30		0xC0000041
			IMX8QM_MIPI_CSI1_GPIO0_01_LSIO_GPIO1_IO31		0xC0000041
			IMX8QM_MIPI_CSI1_MCLK_OUT_MIPI_CSI1_ACM_MCLK_OUT	0xC0000041
		>;
	};

	pinctrl_lvds0_lpi2c1: lvds0lpi2c1grp {
		fsl,pins = <
			IMX8QM_LVDS0_I2C1_SCL_LVDS0_I2C1_SCL	0xc600004c
			IMX8QM_LVDS0_I2C1_SDA_LVDS0_I2C1_SDA	0xc600004c
		>;
	};

	pinctrl_lvds1_lpi2c1: lvds1lpi2c1grp {
		fsl,pins = <
			IMX8QM_LVDS1_I2C1_SCL_LVDS1_I2C1_SCL	0xc600004c
			IMX8QM_LVDS1_I2C1_SDA_LVDS1_I2C1_SDA	0xc600004c
		>;
	};

	pinctrl_wifi: wifigrp{
		fsl,pins = <
			IMX8QM_SCU_GPIO0_07_SCU_DSC_RTC_CLOCK_OUTPUT_32K	0x20
		>;
	};

	pinctrl_wifi_init: wifi_initgrp{
		fsl,pins = <
			/* reserve pin init/idle_state to support multiple wlan cards */
		>;
	};

	pinctrl_wlreg_on: wlregongrp{
		fsl,pins = <
			IMX8QM_LVDS1_I2C0_SDA_LSIO_GPIO1_IO13		0x06000000
		>;
	};

	pinctrl_wlreg_on_sleep: wlregon_sleepgrp{
		fsl,pins = <
			IMX8QM_LVDS1_I2C0_SDA_LSIO_GPIO1_IO13		0x07800000
		>;
	};

	pinctrl_mipi0_lpi2c0: mipi0_lpi2c0grp {
		fsl,pins = <
			IMX8QM_MIPI_DSI0_I2C0_SCL_MIPI_DSI0_I2C0_SCL      0xc6000020
			IMX8QM_MIPI_DSI0_I2C0_SDA_MIPI_DSI0_I2C0_SDA      0xc6000020
			IMX8QM_MIPI_DSI0_GPIO0_01_LSIO_GPIO1_IO19         0x00000020
		>;
	};

	pinctrl_mipi1_lpi2c0: mipi1_lpi2c0grp {
		fsl,pins = <
			IMX8QM_MIPI_DSI1_I2C0_SCL_MIPI_DSI1_I2C0_SCL      0xc6000020
			IMX8QM_MIPI_DSI1_I2C0_SDA_MIPI_DSI1_I2C0_SDA      0xc6000020
			IMX8QM_MIPI_DSI1_GPIO0_01_LSIO_GPIO1_IO23         0x00000020
		>;
	};

};

&thermal_zones {
	pmic-thermal0 {
		polling-delay-passive = <250>;
		polling-delay = <2000>;
		thermal-sensors = <&tsens IMX_SC_R_PMIC_0>;
		trips {
			pmic_alert0: trip0 {
				temperature = <110000>;
				hysteresis = <2000>;
				type = "passive";
			};
			pmic_crit0: trip1 {
				temperature = <125000>;
				hysteresis = <2000>;
				type = "critical";
			};
		};
		cooling-maps {
			map0 {
				trip = <&pmic_alert0>;
				cooling-device =
				<&A72_0 THERMAL_NO_LIMIT THERMAL_NO_LIMIT>,
				<&A72_1 THERMAL_NO_LIMIT THERMAL_NO_LIMIT>;
			};
		};
	};
};

&gpu_3d0{
	status = "disabled";
};

&gpu_3d1{
	status = "okay";
};

&imx8_gpu_ss {
	cores = <&gpu_3d1>;
	status = "okay";
};

/ {
	display-subsystem {
		compatible = "fsl,imx-display-subsystem";
		ports = <&dpu2_disp0>, <&dpu2_disp1>;
	};
};

&mu_m0{
	interrupts = <GIC_SPI 472 IRQ_TYPE_LEVEL_HIGH>;
};

&mu1_m0{
	interrupts = <GIC_SPI 473 IRQ_TYPE_LEVEL_HIGH>;
};

&mu2_m0{
	interrupts = <GIC_SPI 474 IRQ_TYPE_LEVEL_HIGH>;
	status = "okay";
};

&vpu {
	compatible = "nxp,imx8qm-vpu";
	status = "okay";
};

&vpu_core0 {
	reg = <0x2d080000 0x10000>;
	memory-region = <&decoder_boot>, <&decoder_rpc>;
	status = "okay";
};

&vpu_core1 {
	reg = <0x2d090000 0x10000>;
	memory-region = <&encoder1_boot>, <&encoder1_rpc>;
	status = "okay";
};

&vpu_core2 {
	reg = <0x2d0a0000 0x10000>;
	memory-region = <&encoder2_boot>, <&encoder2_rpc>;
	status = "okay";
};

&lsio_gpio0 {
	status = "okay";
};

&lsio_gpio1 {
	status = "disabled";
};

&lsio_gpio2 {
	status = "disabled";
};

&lsio_gpio3 {
	status = "okay";
};

&lsio_gpio4 {
	status = "disabled";
};

&lsio_gpio5 {
	status = "disabled";
};

&lsio_gpio6 {
	status = "okay";
};

&lsio_gpio7 {
	status = "okay";
};

&crypto {
	power-domains = <&pd IMX_SC_R_CAAM_JR3>;
};

&sec_jr2  {
	status = "disabled";
};

&edma0 {
	reg = <0x591f0000 0x10000>, /* mp */
	      <0x592e0000 0x10000>, /* sai1 rx */
	      <0x592f0000 0x10000>; /* sai1 tx */
	dma-channels = <2>;
	interrupts = <GIC_SPI 317 IRQ_TYPE_LEVEL_HIGH>, /* sai1 */
		<GIC_SPI 317 IRQ_TYPE_LEVEL_HIGH>;
	interrupt-names = "edma2-chan14-rx", "edma2-chan15-tx"; /* sai1 */
	power-domains = <&pd IMX_SC_R_DMA_2_CH14>,
		<&pd IMX_SC_R_DMA_2_CH15>;
	power-domain-names = "edma2-chan14", "edma2-chan15";
	status = "okay";
};

&edma2 {
	reg = <0x5a1f0000 0x10000>, /* mp */
	      <0x5a300000 0x10000>, /* channel16 UART2 rx */
	      <0x5a310000 0x10000>; /* channel17 UART2 tx */
	#dma-cells = <3>;
	dma-channels = <2>;
	interrupts = <GIC_SPI 438 IRQ_TYPE_LEVEL_HIGH>,
				<GIC_SPI 439 IRQ_TYPE_LEVEL_HIGH>;
	interrupt-names = "edma0-chan16-rx", "edma0-chan17-tx";
	power-domains = <&pd IMX_SC_R_DMA_0_CH16>,
			<&pd IMX_SC_R_DMA_0_CH17>;
	power-domain-names = "edma0-chan16", "edma0-chan17";
	status = "okay";
};

&crypto {
	/delete-property/ interrupts;
	power-domains = <&pd IMX_SC_R_CAAM_JR3>;
	/delete-node/ sec_jr2;
};

/delete-node/ &edma1;

/delete-node/ &gpu_3d0;

/delete-node/ &ddr_pmu0;
/delete-node/ &ddr_pmu1;
/delete-node/ &dpu1;
/delete-node/ &hdmi;
/delete-node/ &dsp;
/delete-node/ &i2c1_lvds0;
/delete-node/ &ldb1;
/delete-node/ &ldb1_phy;
/delete-node/ &lpuart0;
/delete-node/ &lpuart1;
/delete-node/ &lpuart3;
/delete-node/ &lvds0_region;
/delete-node/ &mipi0_dsi_host;
/delete-node/ &i2c0_mipi0;
/delete-node/ &mqs;
/delete-node/ &usdhc2;
